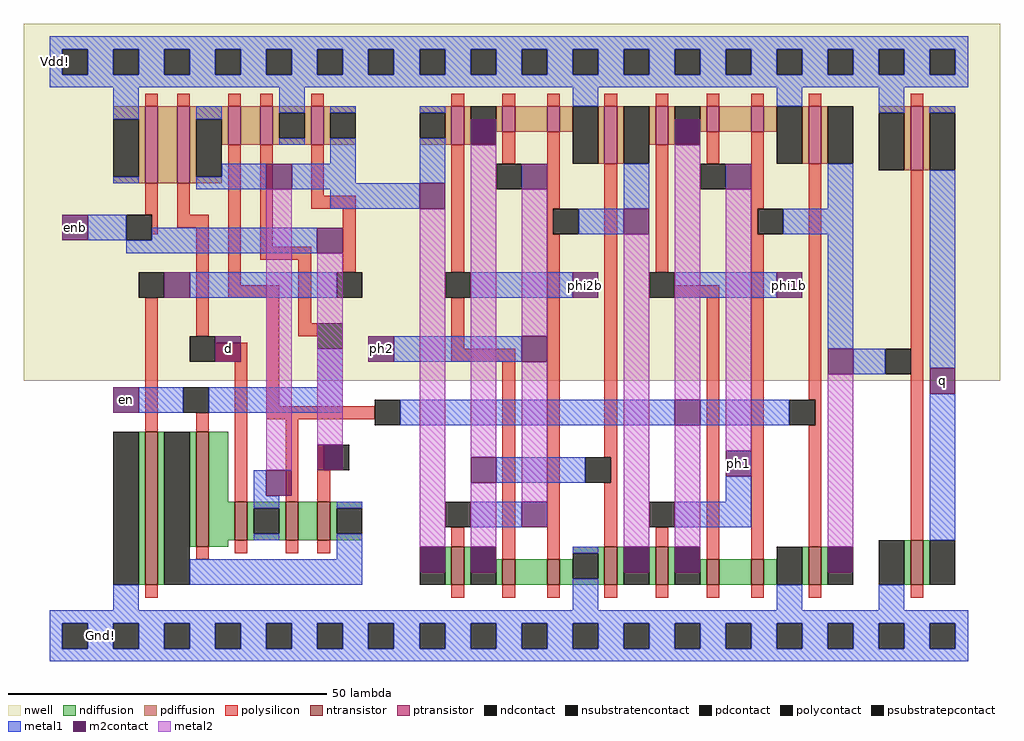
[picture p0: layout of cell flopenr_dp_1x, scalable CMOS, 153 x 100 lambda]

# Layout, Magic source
magic
tech scmos
<< nwell >>
rect -6 40 147 96
<< ntransistor >>
rect 13 8 15 32
rect 21 14 23 32
rect 27 15 29 21
rect 35 15 37 21
rect 40 15 42 21
rect 61 8 63 14
rect 69 8 71 12
rect 76 8 78 12
rect 85 8 87 14
rect 93 8 95 14
rect 101 8 103 12
rect 108 8 110 12
rect 117 8 119 14
rect 133 8 135 15
<< ptransistor >>
rect 13 71 15 83
rect 18 71 20 83
rect 26 77 28 83
rect 31 77 33 83
rect 39 77 41 83
rect 61 77 63 83
rect 69 79 71 83
rect 76 79 78 83
rect 85 74 87 83
rect 93 77 95 83
rect 101 79 103 83
rect 108 79 110 83
rect 117 74 119 83
rect 133 73 135 83
<< ndiffusion >>
rect 12 8 13 32
rect 15 8 16 32
rect 20 14 21 32
rect 23 21 26 32
rect 23 15 27 21
rect 29 20 35 21
rect 29 16 30 20
rect 34 16 35 20
rect 29 15 35 16
rect 37 15 40 21
rect 42 20 47 21
rect 42 16 43 20
rect 42 15 47 16
rect 23 14 26 15
rect 60 8 61 14
rect 63 8 64 14
rect 80 13 85 14
rect 68 8 69 12
rect 71 8 76 12
rect 78 9 80 12
rect 84 9 85 13
rect 78 8 85 9
rect 87 8 88 14
rect 92 8 93 14
rect 95 8 96 14
rect 100 8 101 12
rect 103 8 108 12
rect 110 8 112 12
rect 116 8 117 14
rect 119 8 120 14
rect 132 8 133 15
rect 135 8 136 15
<< pdiffusion >>
rect 8 81 13 83
rect 12 72 13 81
rect 8 71 13 72
rect 15 71 18 83
rect 20 81 26 83
rect 20 72 21 81
rect 25 77 26 81
rect 28 77 31 83
rect 33 82 39 83
rect 33 78 34 82
rect 38 78 39 82
rect 33 77 39 78
rect 41 82 46 83
rect 41 78 42 82
rect 41 77 46 78
rect 56 82 61 83
rect 60 78 61 82
rect 56 77 61 78
rect 63 77 64 83
rect 68 79 69 83
rect 71 79 76 83
rect 78 79 80 83
rect 20 71 25 72
rect 84 74 85 83
rect 87 74 88 83
rect 92 77 93 83
rect 95 77 96 83
rect 100 79 101 83
rect 103 79 108 83
rect 110 79 112 83
rect 116 74 117 83
rect 119 74 120 83
rect 128 82 133 83
rect 132 73 133 82
rect 135 82 140 83
rect 135 73 136 82
<< ndcontact >>
rect 8 8 12 32
rect 16 8 20 32
rect 30 16 34 20
rect 43 16 47 20
rect 56 8 60 14
rect 64 8 68 14
rect 80 9 84 13
rect 88 8 92 14
rect 96 8 100 14
rect 112 8 116 14
rect 120 8 124 14
rect 128 8 132 15
rect 136 8 140 15
<< pdcontact >>
rect 8 72 12 81
rect 21 72 25 81
rect 34 78 38 82
rect 42 78 46 82
rect 56 78 60 82
rect 64 77 68 83
rect 80 74 84 83
rect 88 74 92 83
rect 96 77 100 83
rect 112 74 116 83
rect 120 74 124 83
rect 128 73 132 82
rect 136 73 140 82
<< psubstratepcontact >>
rect 0 -2 4 2
rect 8 -2 12 2
rect 16 -2 20 2
rect 24 -2 28 2
rect 32 -2 36 2
rect 40 -2 44 2
rect 48 -2 52 2
rect 56 -2 60 2
rect 64 -2 68 2
rect 72 -2 76 2
rect 80 -2 84 2
rect 88 -2 92 2
rect 96 -2 100 2
rect 104 -2 108 2
rect 112 -2 116 2
rect 120 -2 124 2
rect 128 -2 132 2
rect 136 -2 140 2
<< nsubstratencontact >>
rect 0 88 4 92
rect 8 88 12 92
rect 16 88 20 92
rect 24 88 28 92
rect 32 88 36 92
rect 40 88 44 92
rect 48 88 52 92
rect 56 88 60 92
rect 64 88 68 92
rect 72 88 76 92
rect 80 88 84 92
rect 88 88 92 92
rect 96 88 100 92
rect 104 88 108 92
rect 112 88 116 92
rect 120 88 124 92
rect 128 88 132 92
rect 136 88 140 92
<< polysilicon >>
rect 13 83 15 85
rect 18 83 20 85
rect 26 83 28 85
rect 31 83 33 85
rect 39 83 41 85
rect 61 83 63 85
rect 69 83 71 85
rect 76 83 78 85
rect 85 83 87 85
rect 93 83 95 85
rect 101 83 103 85
rect 108 83 110 85
rect 117 83 119 85
rect 133 83 135 85
rect 13 66 15 71
rect 14 63 15 66
rect 18 66 20 71
rect 18 64 23 66
rect 13 32 15 53
rect 21 47 23 64
rect 26 55 28 77
rect 31 61 33 77
rect 39 69 41 77
rect 39 67 46 69
rect 31 59 39 61
rect 26 53 34 55
rect 24 43 29 46
rect 21 32 23 35
rect 27 21 29 43
rect 32 36 34 53
rect 37 49 39 59
rect 44 57 46 67
rect 61 57 63 77
rect 69 74 71 79
rect 76 67 78 79
rect 76 63 77 67
rect 37 47 40 49
rect 61 45 63 53
rect 61 43 71 45
rect 32 34 49 36
rect 35 21 37 34
rect 40 26 41 30
rect 40 21 42 26
rect 21 12 23 14
rect 27 13 29 15
rect 35 13 37 15
rect 40 13 42 15
rect 61 14 63 17
rect 69 12 71 43
rect 76 12 78 63
rect 85 28 87 74
rect 93 57 95 77
rect 101 74 103 79
rect 108 67 110 79
rect 108 63 109 67
rect 96 53 103 55
rect 86 24 87 28
rect 85 14 87 24
rect 93 14 95 17
rect 101 12 103 53
rect 108 12 110 63
rect 117 37 119 74
rect 118 33 119 37
rect 117 14 119 33
rect 133 15 135 73
rect 13 6 15 8
rect 61 6 63 8
rect 69 6 71 8
rect 76 6 78 8
rect 85 6 87 8
rect 93 6 95 8
rect 101 6 103 8
rect 108 6 110 8
rect 117 6 119 8
rect 133 6 135 8
<< polycontact >>
rect 10 62 14 66
rect 12 53 16 57
rect 20 43 24 47
rect 19 35 23 39
rect 68 70 72 74
rect 77 63 81 67
rect 43 53 47 57
rect 60 53 64 57
rect 40 45 44 49
rect 49 33 53 37
rect 41 26 45 30
rect 60 17 64 21
rect 100 70 104 74
rect 109 63 113 67
rect 92 53 96 57
rect 82 24 86 28
rect 92 17 96 21
rect 129 41 133 45
rect 114 33 118 37
<< metal1 >>
rect -2 92 142 94
rect -2 88 0 92
rect 4 88 8 92
rect 12 88 16 92
rect 20 88 24 92
rect 28 88 32 92
rect 36 88 40 92
rect 44 88 48 92
rect 52 88 56 92
rect 60 88 64 92
rect 68 88 72 92
rect 76 88 80 92
rect 84 88 88 92
rect 92 88 96 92
rect 100 88 104 92
rect 108 88 112 92
rect 116 88 120 92
rect 124 88 128 92
rect 132 88 136 92
rect 140 88 142 92
rect -2 86 142 88
rect 8 81 12 86
rect 8 71 12 72
rect 21 81 25 83
rect 34 82 38 86
rect 80 83 84 86
rect 112 83 116 86
rect 34 77 38 78
rect 42 82 46 83
rect 42 74 46 78
rect 25 72 32 74
rect 21 70 32 72
rect 36 71 46 74
rect 56 82 60 83
rect 56 71 60 78
rect 36 70 56 71
rect 42 67 56 70
rect 88 67 92 74
rect 120 67 124 74
rect 128 82 132 86
rect 136 82 140 83
rect 4 62 10 66
rect 14 62 40 64
rect 10 60 40 62
rect 81 63 88 67
rect 113 63 124 67
rect 20 53 43 57
rect 64 53 80 57
rect 96 53 112 57
rect 40 39 44 45
rect 52 43 72 47
rect 120 45 124 63
rect 124 41 129 45
rect 136 42 140 73
rect 12 35 19 39
rect 23 35 44 39
rect 53 33 96 37
rect 100 33 114 37
rect 30 22 32 26
rect 68 24 82 28
rect 30 20 34 22
rect 104 21 108 25
rect 30 15 34 16
rect 43 20 47 21
rect 64 17 72 21
rect 96 17 108 21
rect 43 12 47 16
rect 136 15 140 38
rect 20 8 47 12
rect 80 13 84 14
rect 8 4 12 8
rect 80 4 84 9
rect 112 4 116 8
rect 128 4 132 8
rect -2 2 142 4
rect -2 -2 0 2
rect 4 -2 8 2
rect 12 -2 16 2
rect 20 -2 24 2
rect 28 -2 32 2
rect 36 -2 40 2
rect 44 -2 48 2
rect 52 -2 56 2
rect 60 -2 64 2
rect 68 -2 72 2
rect 76 -2 80 2
rect 84 -2 88 2
rect 92 -2 96 2
rect 100 -2 104 2
rect 108 -2 112 2
rect 116 -2 120 2
rect 124 -2 128 2
rect 132 -2 136 2
rect 140 -2 142 2
rect -2 -4 142 -2
<< m2contact >>
rect 32 70 36 74
rect 64 77 68 81
rect 96 77 100 81
rect 56 67 60 71
rect 72 70 76 74
rect 104 70 108 74
rect 0 62 4 66
rect 40 60 44 64
rect 88 63 92 67
rect 16 53 20 57
rect 80 53 84 57
rect 112 53 116 57
rect 24 43 28 47
rect 48 43 52 47
rect 72 43 76 47
rect 120 41 124 45
rect 8 35 12 39
rect 136 38 140 42
rect 96 33 100 37
rect 40 26 41 30
rect 41 26 44 30
rect 32 22 36 26
rect 64 24 68 28
rect 104 25 108 29
rect 72 17 76 21
rect 56 10 60 14
rect 64 10 68 14
rect 88 10 92 14
rect 96 10 100 14
rect 120 10 124 14
<< metal2 >>
rect 32 26 36 70
rect 40 30 44 60
rect 56 14 60 67
rect 64 28 68 77
rect 64 14 68 24
rect 72 47 76 70
rect 72 21 76 43
rect 88 14 92 63
rect 96 37 100 77
rect 96 14 100 33
rect 104 29 108 70
rect 120 14 124 41
<< labels >>
rlabel m2contact 2 64 2 64 1 enb
rlabel metal1 -1 90 -1 90 3 Vdd!
rlabel m2contact 10 37 10 37 1 en
rlabel m2contact 26 45 26 45 1 d
rlabel m2contact 50 45 50 45 1 ph2
rlabel m2contact 106 27 106 27 1 ph1
rlabel m2contact 138 40 138 40 1 q
rlabel m2contact 114 55 114 55 1 phi1b
rlabel m2contact 82 55 82 55 1 phi2b
rlabel metal1 6 0 6 0 1 Gnd!
<< end >>
